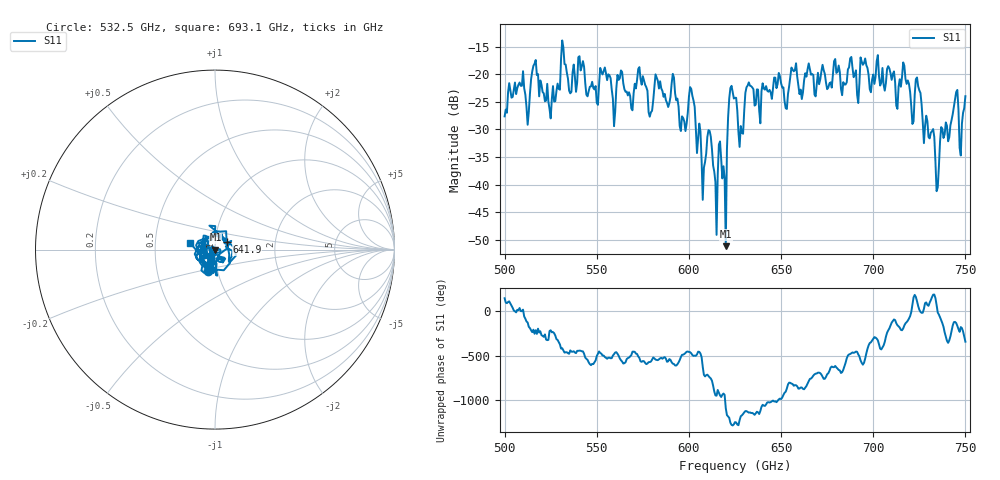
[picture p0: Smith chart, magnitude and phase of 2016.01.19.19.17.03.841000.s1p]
!Created with skrf (http://scikit-rf.org).
# GHz S RI R 50.0
!freq ReS11 ImS11
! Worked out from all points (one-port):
!   401 points, 500 GHz to 750 GHz, reference 50 ohm
!   lowest |S11| = -51.1 dB at 620 GHz (marker M1), VSWR 1.01, Z = 50.3 - j0.0495 ohm
!   |S11| at or under -10 dB: start of sweep to end of sweep
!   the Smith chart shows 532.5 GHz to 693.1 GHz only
!   S11 on the Smith chart (normalised r, x): 532.5 GHz: 0.91, -0.22; 641.9 GHz: 1.14, +0.10; 693.1 GHz: 0.76, +0.05
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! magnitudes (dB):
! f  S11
! 500 GHz  -27.6
! 512.5 GHz  -29.2
! 516.2 GHz  -18.1
! 525.6 GHz  -24.5
! 531.2 GHz  -13.9
! 532.5 GHz  -18.2
! 559.4 GHz  -29.4
! 562.5 GHz  -20.8
! 593.8 GHz  -24.4
! 601.2 GHz  -22.7
! 608.1 GHz  -36.9
! 611.2 GHz  -30.3
! 614.4 GHz  -39.5
! 620 GHz  -51.1
! 622.5 GHz  -22.5
! 625 GHz  -24.3
! 628.1 GHz  -29.4
! 631.9 GHz  -22.1
! 641.9 GHz  -22.2
! 656.2 GHz  -19.2
! 687.5 GHz  -17.1
! 693.1 GHz  -17.0
! 718.8 GHz  -21.1
! 724.4 GHz  -22.2
! 735 GHz  -40.5
! 744.4 GHz  -24.6
! 747.5 GHz  -34.7
! 750 GHz  -24.0
